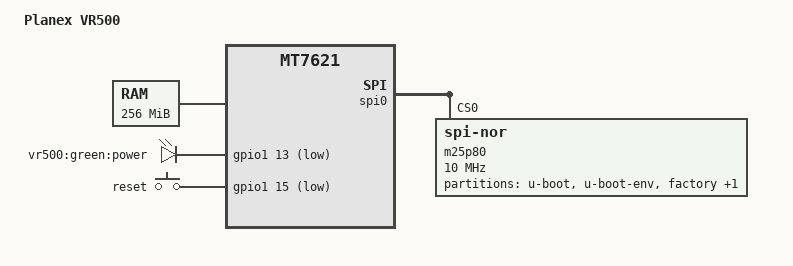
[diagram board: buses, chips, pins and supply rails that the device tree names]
/dts-v1/;

#include "mt7621.dtsi"

#include <dt-bindings/gpio/gpio.h>
#include <dt-bindings/input/input.h>

/ {
	compatible = "planex,vr500", "mediatek,mt7621-soc";
	model = "Planex VR500";

	aliases {
		led-boot = &led_power;
		led-failsafe = &led_power;
		led-running = &led_power;
		led-upgrade = &led_power;
	};

	memory@0 {
		device_type = "memory";
		reg = <0x0 0x10000000>;
	};

	chosen {
		bootargs = "console=ttyS0,57600";
	};

	leds {
		compatible = "gpio-leds";

		led_power: power {
			label = "vr500:green:power";
			gpios = <&gpio1 13 GPIO_ACTIVE_LOW>;
		};
	};

	keys {
		compatible = "gpio-keys-polled";
		poll-interval = <20>;

		reset {
			label = "reset";
			gpios = <&gpio1 15 GPIO_ACTIVE_LOW>;
			linux,code = <KEY_RESTART>;
		};
	};
};

&spi0 {
	status = "okay";

	m25p80@0 {
		compatible = "jedec,spi-nor";
		reg = <0>;
		spi-max-frequency = <10000000>;

		partitions {
			compatible = "fixed-partitions";
			#address-cells = <1>;
			#size-cells = <1>;

			partition@0 {
				label = "u-boot";
				reg = <0x0 0x30000>;
				read-only;
			};

			partition@30000 {
				label = "u-boot-env";
				reg = <0x30000 0x10000>;
				read-only;
			};

			factory: partition@40000 {
				label = "factory";
				reg = <0x40000 0x10000>;
				read-only;
			};

			partition@50000 {
				compatible = "denx,uimage";
				label = "firmware";
				reg = <0x50000 0x3fb0000>;
			};
		};
	};
};

&pinctrl {
	state_default: pinctrl0 {
		gpio {
			ralink,group = "i2c", "uart2", "uart3", "rgmii2", "sdhci";
			ralink,function = "gpio";
		};
	};
};
